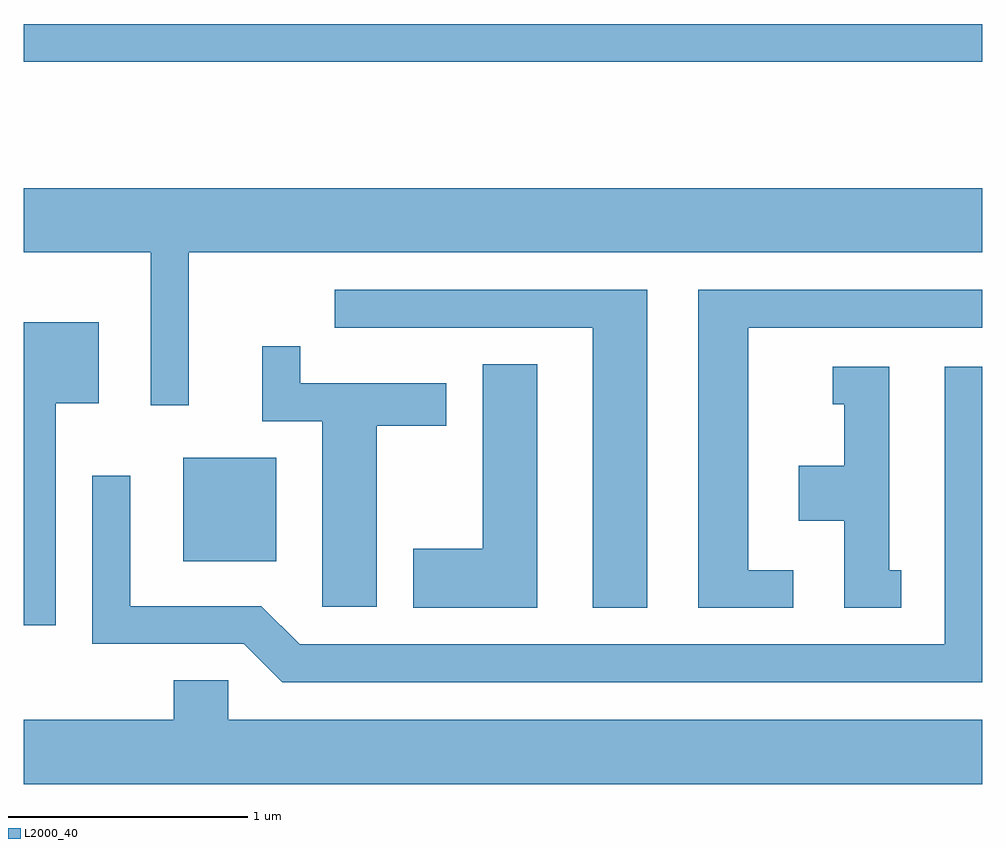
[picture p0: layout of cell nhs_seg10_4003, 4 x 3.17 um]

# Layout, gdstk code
import gdstk
lib = gdstk.Library(unit=1e-6, precision=1e-09)
def R(c, l, rs):  # rectangles x0, y0, x1, y1
    for r in rs: c.add(gdstk.rectangle(r[:2], r[2:], *l))
def P(c, l, *ps):  # polygons
    for p in ps: c.add(gdstk.Polygon(p, *l))
L2000_40 = (2000, 40)

nhs_seg10_4003 = lib.new_cell('nhs_seg10_4003')
R(nhs_seg10_4003, L2000_40, [(304.276,2101.526,304.664,2101.959), (303.611,2103.611,307.611,2103.769)])
P(nhs_seg10_4003, L2000_40, [(304.299,2102.816),(307.611,2102.816),(307.611,2103.084),(303.611,2103.084),(303.611,2102.816),(304.141,2102.816),(304.141,2102.178),(304.299,2102.178)],
  [(306.823,2101.489),(306.634,2101.489),(306.634,2102.501),(307.611,2102.501),(307.611,2102.659),(306.426,2102.659),(306.426,2101.331),(306.823,2101.331)],
  [(306.214,2102.659),(304.908,2102.659),(304.908,2102.501),(305.986,2102.501),(305.986,2101.331),(306.214,2101.331)],
  [(303.744,2102.186),(303.924,2102.186),(303.924,2102.524),(303.611,2102.524),(303.611,2101.258),(303.744,2101.258)],
  [(305.084,2102.091),(305.374,2102.091),(305.374,2102.269),(304.764,2102.269),(304.764,2102.423),(304.606,2102.423),(304.606,2102.111),(304.856,2102.111),(304.856,2101.336),(305.084,2101.336)],
  [(305.754,2102.349),(305.526,2102.349),(305.526,2101.579),(305.236,2101.579),(305.236,2101.331),(305.754,2101.331)],
  [(307.273,2101.489),(307.224,2101.489),(307.224,2102.339),(306.988,2102.339),(306.988,2102.181),(307.036,2102.181),(307.036,2101.924),(306.846,2101.924),(306.846,2101.696),(307.036,2101.696),(307.036,2101.331),(307.273,2101.331)],
  [(307.611,2102.339),(307.456,2102.339),(307.456,2101.179),(304.762,2101.179),(304.602,2101.339),(304.054,2101.339),(304.054,2101.883),(303.896,2101.883),(303.896,2101.181),(304.529,2101.181),(304.689,2101.021),(307.611,2101.021)],
  [(307.611,2100.864),(304.464,2100.864),(304.464,2101.029),(304.236,2101.029),(304.236,2100.864),(303.611,2100.864),(303.611,2100.596),(307.611,2100.596)])

lib.write_gds('nhs_seg10_4003.gds')
